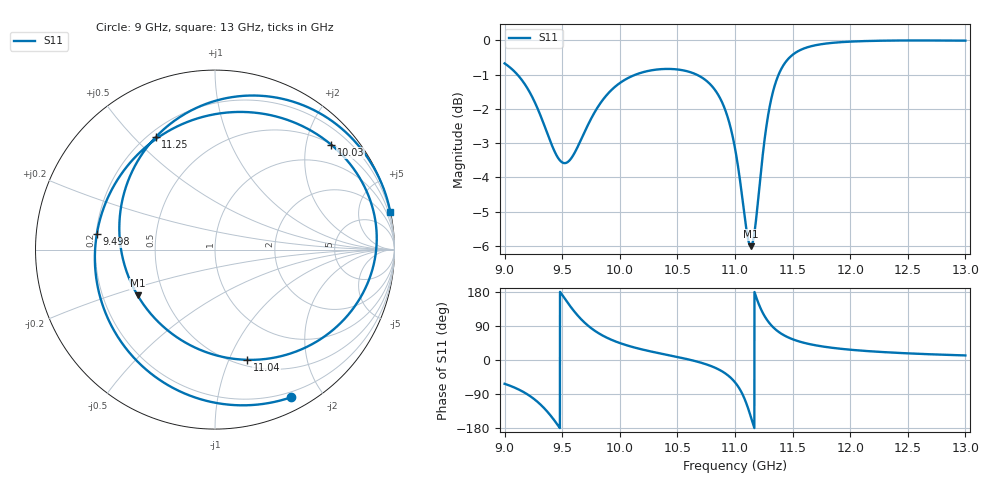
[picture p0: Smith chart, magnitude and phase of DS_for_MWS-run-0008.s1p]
! TOUCHSTONE file generated by CST DESIGN STUDIO
! Date and time: Tue Feb  4 14:35:51 2025
! Project name: C:\Work\MatlabApps\UnitCellOptimizationMatlab\CST\unitcell.cst
! Tree item: Tasks\Sweep1\SPara1\S-Parameters
! Header version: 2024
! Port assignment regex: !\s*Touchstone port\s*([0-9]+)\s*=\s*(CST MWS port|CST DES external port|CST DES block port)\s*(.+)\s* \(\"(.*)\"\)(\s*mode\s*([0-9]+))?.*
! Touchstone port assignment:
! Touchstone port 1 = CST DES external port 1 ("")
# GHz S MA R 50
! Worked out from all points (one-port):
!   4001 points, 9 GHz to 13 GHz, reference 50 ohm
!   lowest |S11| = -6.0 dB at 11.14 GHz (marker M1), VSWR 3.01, Z = 17.7 - j12.1 ohm
!   |S11| at or under -10 dB: nowhere
!   S11 on the Smith chart (normalised r, x): 9 GHz: 0.14, -1.63; 9.498 GHz: 0.20, +0.06; 10.03 GHz: 0.52, +2.52; 11.04 GHz: 0.56, -1.17; 11.25 GHz: 0.23, +0.58; 13 GHz: 0.05, +9.46
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9  0.9254 -62.8
9.166  0.8676 -84.8
9.28  0.7998 -108.9
9.406  0.706 -149.2
9.498  0.664 172.5
9.5  0.6637 171.6
9.604  0.6836 128.4
9.701  0.7392 96.8
9.846  0.8161 65.4
10  0.8663 44.8
10.027  0.8724 42.0
10.236  0.9015 24.8
10.5  0.9068 7.9
10.822  0.8484 -19.7
10.921  0.7866 -36.5
11  0.696 -58.9
11.035  0.6398 -73.7
11.088  0.5467 -106.2
11.137  0.501 -149.4
11.191  0.5639 159.8
11.253  0.7083 117.8
11.295  0.7906 98.8
11.343  0.8572 83.0
11.5  0.9525 54.7
11.694  0.9833 39.1
12  0.9956 27.2
12.5  0.9995 17.6
13  0.9989 12.1
